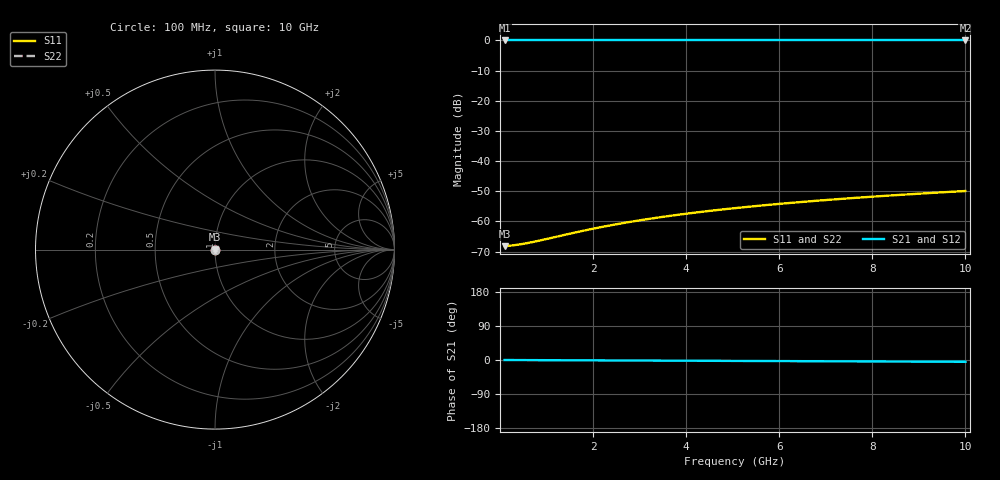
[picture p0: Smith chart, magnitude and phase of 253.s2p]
# Hz S RI R 50.00
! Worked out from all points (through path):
!   100 points, 100 MHz to 10 GHz, reference 50 ohm
!   highest |S21| = 0.00 dB at 100 MHz (marker M1); lowest = 0.0 dB at 10 GHz (marker M2)
!   lowest |S11| = -68.2 dB at 100 MHz (marker M3), VSWR 1.00, Z = 50 + j0.0032 ohm
!   |S11| at or under -10 dB: start of sweep to end of sweep
!   |S22| runs from -68.2 to -49.9 dB; largest |S21 - S12| = 0
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1e8  0.000388 3.19e-05  0.9996 -0.000831  0.9996 -0.000831  0.000388 3.19e-05
3e8  0.000392 9.58e-05  0.9996 -0.00249  0.9996 -0.00249  0.000392 9.58e-05
4e8  0.000394 0.000128  0.9996 -0.00333  0.9996 -0.00333  0.000394 0.000128
6e8  0.000396 0.000192  0.9996 -0.00499  0.9996 -0.00499  0.000396 0.000192
9e8  0.000399 0.000287  0.9996 -0.00748  0.9996 -0.00748  0.000399 0.000287
1.5e9  0.000405 0.000478  0.9995 -0.0125  0.9995 -0.0125  0.000405 0.000478
1.8e9  0.000409 0.000573  0.9995 -0.015  0.9995 -0.015  0.000409 0.000573
2.2e9  0.000414 0.0007  0.9994 -0.0183  0.9994 -0.0183  0.000414 0.0007
2.6e9  0.00042 0.000827  0.9993 -0.0216  0.9993 -0.0216  0.00042 0.000827
3e9  0.000426 0.000953  0.9993 -0.025  0.9993 -0.025  0.000426 0.000953
3.4e9  0.000434 0.00108  0.9992 -0.0283  0.9992 -0.0283  0.000434 0.00108
3.8e9  0.000442 0.0012  0.9991 -0.0316  0.9991 -0.0316  0.000442 0.0012
4.2e9  0.000451 0.00133  0.999 -0.0349  0.999 -0.0349  0.000451 0.00133
4.6e9  0.00046 0.00145  0.9988 -0.0383  0.9988 -0.0383  0.00046 0.00145
5.1e9  0.000474 0.00161  0.9987 -0.0424  0.9987 -0.0424  0.000474 0.00161
5.5e9  0.000485 0.00174  0.9985 -0.0458  0.9985 -0.0458  0.000485 0.00174
5.9e9  0.000497 0.00186  0.9983 -0.0491  0.9983 -0.0491  0.000497 0.00186
6.7e9  0.000525 0.00211  0.998 -0.0558  0.998 -0.0558  0.000525 0.00211
7.5e9  0.000555 0.00236  0.9976 -0.0625  0.9976 -0.0625  0.000555 0.00236
8.4e9  0.000593 0.00263  0.9971 -0.07  0.9971 -0.07  0.000593 0.00263
9.2e9  0.000631 0.00288  0.9966 -0.0767  0.9966 -0.0767  0.000631 0.00288
1e10  0.000672 0.00313  0.996 -0.0834  0.996 -0.0834  0.000672 0.00313
